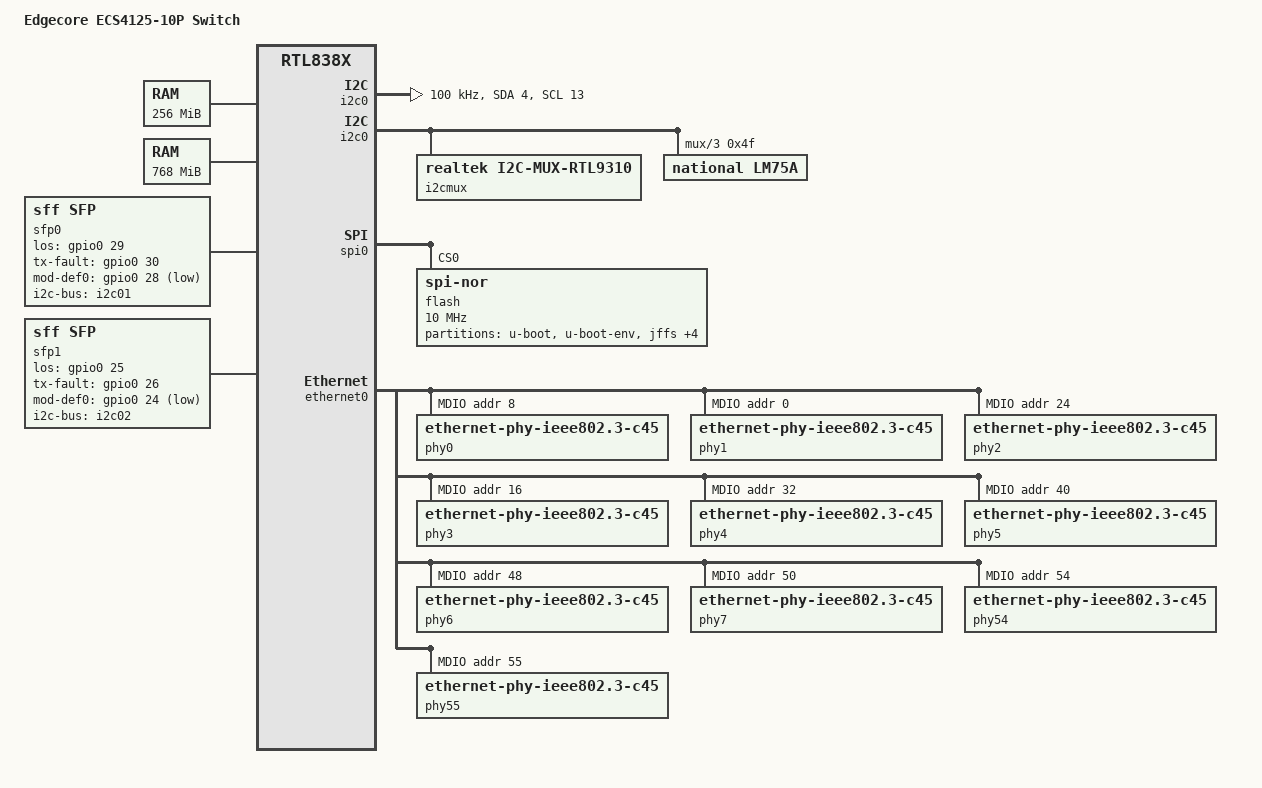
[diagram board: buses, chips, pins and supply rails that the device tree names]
/dts-v1/;

#include "rtl931x.dtsi"

#include <dt-bindings/input/input.h>
#include <dt-bindings/gpio/gpio.h>

/ {
	compatible = "edgecore,ecs4125-10p", "realtek,rtl838x-soc";
	model = "Edgecore ECS4125-10P Switch";
/*
	aliases {
		led-boot = &led_sys;
		led-failsafe = &led_sys;
		led-running = &led_sys;
		led-upgrade = &led_sys;
	};	
*/

	memory@0 {
		device_type = "memory";
		reg = <0x0 0x10000000>;
	};

	memory@90000000 {
		device_type = "memory";
		reg = <0x90000000 0x30000000>;
	};

	chosen {
		bootargs = "console=ttyS0,115200";
	};
/*
	leds {
		compatible = "gpio-leds";

		led_sys: sys {
			label = "ecs4125_15:green:sys";
			gpios = <&gpio0 15 GPIO_ACTIVE_HIGH>;
		};
	}; */

	i2c0: i2c-rtl9310 {
		compatible = "realtek,rtl9310-i2c";
		reg = <0x1b001004 0x3c>;
		#address-cells = <1>;
		#size-cells = <0>;
		sda-pin = <4>;
		scl-pin = <13>;
		clock-frequency = <100000>;
	};

	i2cmux {
		compatible = "realtek,i2c-mux-rtl9310";
		#address-cells = <1>;
		#size-cells = <0>;
		i2c-parent = <&i2c0>;

		i2c01: i2c-rtl9310-1 {
			reg = <1>;
			#address-cells = <1>;
			#size-cells = <0>;
			sda-pin = <4>;
			scl-pin = <13>;
		};

		i2c02: i2c-rtl9310-2 {
			reg = <2>;
			#address-cells = <1>;
			#size-cells = <0>;
			sda-pin = <5>;
			scl-pin = <13>;
		};

		i2c03: i2c-rtl9310-3 {
			reg = <3>;
			#address-cells = <1>;
			#size-cells = <0>;
			sda-pin = <0>;
			scl-pin = <14>;

			lm75a@4f {
				compatible = "national,lm75a";
				reg = <0x4f>;
			};

		};
	};

	sfp0: sfp-p9 {
		compatible = "sff,sfp";
		i2c-bus = <&i2c01>;
		los-gpio = <&gpio0 29 GPIO_ACTIVE_HIGH>;
		tx-fault-gpio = <&gpio0 30 GPIO_ACTIVE_HIGH>;
		mod-def0-gpio = <&gpio0 28 GPIO_ACTIVE_LOW>;
//		tx-disable-gpio = <&gpio0 31 GPIO_ACTIVE_HIGH>;
	};

	sfp1: sfp-p10 {
		compatible = "sff,sfp";
		i2c-bus = <&i2c02>;
		los-gpio = <&gpio0 25 GPIO_ACTIVE_HIGH>;
		tx-fault-gpio = <&gpio0 26 GPIO_ACTIVE_HIGH>;
		mod-def0-gpio = <&gpio0 24 GPIO_ACTIVE_LOW>;
//		tx-disable-gpio = <&gpio0 27 GPIO_ACTIVE_HIGH>;
	};

/*
&gpio0 {
	indirect-access-bus-id = <0>;
	};
*/
};

&spi0 {
	status = "okay";
	flash@0 {
		compatible = "jedec,spi-nor";
		reg = <0>;
		spi-max-frequency = <10000000>;

		partitions {
			compatible = "fixed-partitions";
			#address-cells = <1>;
			#size-cells = <1>;

			partition@0 {
				label = "u-boot";
				reg = <0x0 0x100000>;
			};
			partition@100000 {
				label = "u-boot-env";
				reg = <0x100000 0x10000>;
			};
			partition@120000 {
				label = "jffs";
				reg = <0x120000 0x100000>;
			};
			partition@220000 {
				label = "jffs2";
				reg = <0x220000 0x100000>;
			};
			partition@320000 {
				label = "linux";
				reg = <0x320000 0x1e60000>;
				compatible = "openwrt,uimage", "denx,uimage";
			};
			partition@2180000 {
				label = "nvram";
				reg = <0x2180000 0x20000>;
			};
			partition@2200000 {
				label = "runtime2";
				reg = <0x2200000 0x1e00000>;
			};
		};
	};
};

&ethernet0 {
	mdio: mdio-bus {
		compatible = "realtek,rtl838x-mdio";
		regmap = <&ethernet0>;
		#address-cells = <1>;
		#size-cells = <0>;
		
		phy0: ethernet-phy@0 {
			reg = <8>;
			compatible = "ethernet-phy-ieee802.3-c45";
			rtl9300,smi-address = <0 2>;
			sds = < 3 >;
		};
		phy1: ethernet-phy@1 {
			reg = <0>;
			compatible = "ethernet-phy-ieee802.3-c45";
			rtl9300,smi-address = <0 4>;
			sds = < 2 >;
		};
		phy2: ethernet-phy@2 {
			reg = <24>;
			compatible = "ethernet-phy-ieee802.3-c45";
			rtl9300,smi-address = <0 1>;
			sds = < 5 >;
		};
		phy3: ethernet-phy@3 {
			reg = <16>;
			compatible = "ethernet-phy-ieee802.3-c45";
			rtl9300,smi-address = <0 6>;
			sds = < 4 >;
		};
		phy4: ethernet-phy@4 {
			reg = <32>;
			compatible = "ethernet-phy-ieee802.3-c45";
			rtl9300,smi-address = <1 4>;
			sds = < 6 >;
		};
		phy5: ethernet-phy@5 {
			reg = <40>;
			compatible = "ethernet-phy-ieee802.3-c45";
			rtl9300,smi-address = <1 2>;
			sds = < 7 >;
		};
		phy6: ethernet-phy@6 {
			reg = <48>;
			compatible = "ethernet-phy-ieee802.3-c45";
			rtl9300,smi-address = <1 6>;
			sds = < 8 >;
		};
		phy7: ethernet-phy@7 {
			reg = <50>;
			compatible = "ethernet-phy-ieee802.3-c45";
			rtl9300,smi-address = <1 1>;
			sds = < 9 >;
		};

		/* RTL9313 Internal Serdes */
		phy54: ethernet-phy@54 {
			compatible = "ethernet-phy-ieee802.3-c45";
			phy-is-integrated;
			reg = <54>;
			sds = < 12 >;
		};

		phy55: ethernet-phy@55 {
			compatible = "ethernet-phy-ieee802.3-c45";
			phy-is-integrated;
			reg = <55>;
			sds = < 13 >;
		};
	};
};

&switch0 {
	ports {
		#address-cells = <1>;
	
	
	
		#size-cells = <0>;

		port@0 {
			reg = <8>;
			label = "lan01";
			phy-handle = <&phy0>;
			phy-mode = "hsgmii";
		};
		port@8 {
			reg = <0>;
			label = "lan02";
			phy-handle = <&phy1>;
			phy-mode = "hsgmii";
		};
		port@16 {
			reg = <24>;
			label = "lan03";
			phy-handle = <&phy2>;
			phy-mode = "hsgmii";
		};
		port@24 {
			reg = <16>;
			label = "lan04";
			phy-handle = <&phy3>;
			phy-mode = "hsgmii";
		};
		port@32 {
			reg = <32>;
			label = "lan05";
			phy-handle = <&phy4>;
			phy-mode = "hsgmii";
		};
		port@40 {
			reg = <40>;
			label = "lan06";
			phy-handle = <&phy5>;
			phy-mode = "hsgmii";
		};
		port@48 {
			reg = <48>;
			label = "lan07";
			phy-handle = <&phy6>;
			phy-mode = "hsgmii";
		};
		port@50 {
			reg = <50>;
			label = "lan08";
			phy-handle = <&phy7>;
			phy-mode = "hsgmii";
		};

		/* RTL9313 Internal SerDes */
		port@54 {
			reg = <54>;
			label = "lan09";
			phy-mode = "10gbase-r";
			pseudo-phy-handle = <&phy54>;
			sfp = <&sfp0>;
//			led-set = <2>;
			managed = "in-band-status";
		};

		port@55 {
			reg = <55>;
			label = "lan10";
			phy-mode = "10gbase-r";
			pseudo-phy-handle = <&phy55>;
			sfp = <&sfp1>;
//			led-set = <2>;
			managed = "in-band-status";
		};

 
		/* CPU-Port */
		port@56 {
			ethernet = <&ethernet0>;
			reg = <56>;
			phy-mode = "qsgmii";
			fixed-link {
				speed = <1000>;
				full-duplex;
			};
		};
	};
};
